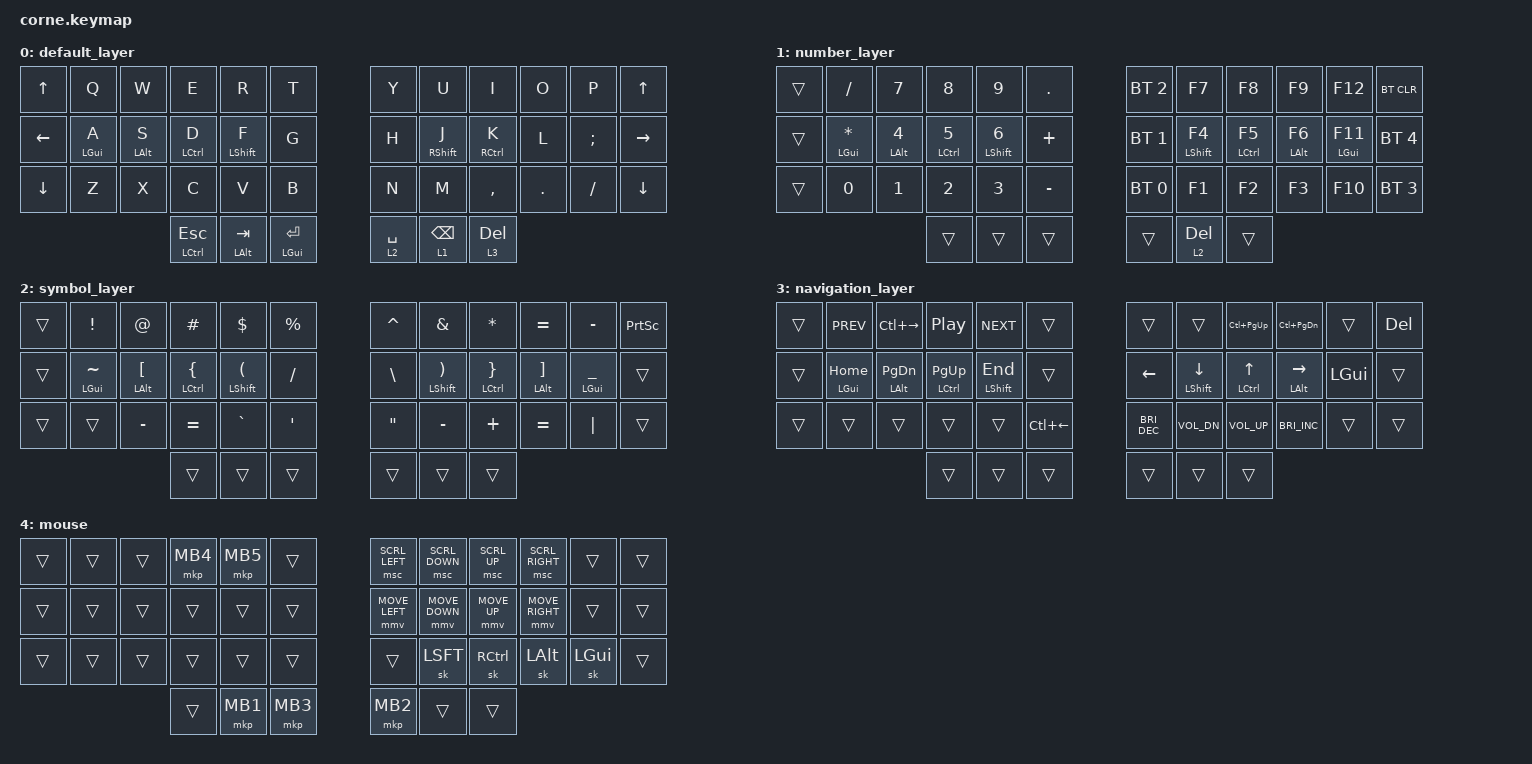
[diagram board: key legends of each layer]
/*
 * Copyright (c) 2020 The ZMK Contributors
 *
 * SPDX-License-Identifier: MIT
 *
 * ==================================================================
 * CORNE KEYBOARD CONFIGURATION FILE
 * ==================================================================
 * This file contains all keymap definitions, behaviors, and custom
 * configurations for the Corne split keyboard.
 * 
 * Keymap structure:
 * - Behaviors section: Defines all key behaviors (hold-tap, home row mods, etc.)
 * - Combos section: Defines key combinations that trigger specific actions
 * - Keymap section: Defines all layers and their key bindings
 * ==================================================================
 */
/* 
 * INCLUDE NECESSARY HEADER FILES
 * These provide definitions for various key codes and behaviors
 */

#include <dt-bindings/zmk/mouse.h>       // Mouse button definitions
#include <behaviors.dtsi>
#include <dt-bindings/zmk/bt.h>
#include <dt-bindings/zmk/keys.h>
#include <dt-bindings/zmk/pointing.h>

/* 
 * LAYER DEFINITIONS
 * These define the layer indices for easier reference throughout the keymap
 */

#define NAV_LAYER 1      // Navigation controls, arrows, media, etc.
#define SYM_LAYER 2      // Symbols, special characters
#define SYSTEM_LAYER 3   // System functions, bluetooth, etc.
#define MOUSE_LAYER 4    // Mouse movement and control

/ {
    /* 
     * BEHAVIOR DEFINITIONS
     * These define how special key behaviors function
     */

    behaviors {
        /* 
         * HOLD-TAP BEHAVIOR
         * Used for thumb keys to perform different actions when held vs tapped
         * - When tapping the key: Sends the tap binding (e.g., Enter)
         * - When holding the key: Activates the hold binding (e.g., GUI modifier)
         */

        ht: holdtap {
            compatible = "zmk,behavior-hold-tap";
            label = "THUMB_HOLD_TAPS";
            #binding-cells = <2>;
            tapping-term-ms = <300>;
            flavor = "balanced";
            global-quick-tap;
            quick-tap-ms = <0>;
            bindings = <&kp>, <&kp>;
        };

        /* 
         * HOME ROW MODS - LEFT HAND
         * Allows home row keys to act as modifiers when held
         * - When tapped normally: Types the character (e.g., 'a', 's', etc.)
         * - When held: Acts as a modifier (CTRL, ALT, GUI, SHIFT)
         * - Tuned for the left hand with specific trigger positions
         */

        hml: homerow_mods_left {
            compatible = "zmk,behavior-hold-tap";
            label = "HOMEROW_MODS_LEFT";
            #binding-cells = <2>;
            tapping-term-ms = <200>;
            quick-tap-ms = <175>;
            global-quick-tap;
            flavor = "tap-preferred";
            bindings = <&kp>, <&kp>;

            hold-trigger-on-release;
            hold-trigger-key-positions = <0 1 2 3 4 5 12 13 14 15 16 17 24 25 26 27 28 29 36 37 38 39 41 40>;
            require-prior-idle-ms = <75>;
        };

        /* 
         * HOME ROW MODS - RIGHT HAND
         * Same concept as left home row mods but tuned for right hand
         * - When tapped normally: Types the character (e.g., 'j', 'k', etc.)
         * - When held: Acts as a modifier (SHIFT, CTRL, ALT, GUI)
         * - Tuned for the right hand with specific trigger positions
         */

        hmr: homerow_mods_right {
            compatible = "zmk,behavior-hold-tap";
            label = "HOMEROW_MODS_RIGHT";
            #binding-cells = <2>;
            tapping-term-ms = <200>;
            quick-tap-ms = <175>;
            global-quick-tap;
            flavor = "tap-preferred";
            bindings = <&kp>, <&kp>;

            hold-trigger-on-release;
            require-prior-idle-ms = <75>;
            hold-trigger-key-positions = <6 7 8 9 10 11 18 19 20 21 22 23 30 31 32 33 34 35 39 40 41 36 37 38>;
        };

        /* 
         * SMART SHIFT BEHAVIOR
         * Enhances the shift key with multiple functions:
         * - When tapped: Acts as sticky shift (stays active for next keypress)
         * - When shift+tapped or double-tapped: Activates caps-word (stays in caps until space/non-alpha)
         * - When held: Regular shift behavior
         */

        smart_shft: smart_shft {
            compatible = "zmk,behavior-mod-morph";
            label = "SMART_SHIFT";
            #binding-cells = <0>;
            bindings = <&sk LSHFT>, <&caps_word>;

            mods = <(MOD_LSFT|MOD_RSFT)>;
        };

        /* 
         * GLOBAL QUICK TAP BEHAVIOR
         * Improves responsiveness when typing quickly
         * - Makes tap behavior more likely after a recent tap
         * - Helps prevent accidental activations of hold behavior during fast typing
         */

        gqt: global-quick-tap {
            compatible = "zmk,behavior-hold-tap";
            label = "GLOBAL_QUICK_TAP";
            #binding-cells = <2>;
            flavor = "tap-preferred";
            tapping-term-ms = <200>;
            quick-tap-ms = <125>;
            global-quick-tap;
            bindings = <&kp>, <&kp>;
        };

        /* 
         * ALT + CAPS LOCK COMBO BEHAVIOR
         * Multipurpose behavior for the Alt key:
         * - When tapped or held: Functions as Left Alt
         * - When double-tapped: Toggles Caps Lock
         */

        alt_caps: alt_caps {
            compatible = "zmk,behavior-tap-dance";
            label = "ALT_CAPS";
            #binding-cells = <0>;
            tapping-term-ms = <50>;
            bindings = <&kp LALT>, <&kp CAPS>;
        };
    };

    /* 
     * KEY COMBOS
     * Define combinations of keys that trigger special actions
     */

    combos {
        compatible = "zmk,combos";

        /* 
         * MOUSE LAYER TOGGLE
         * Press LEFT_TAB and BACKSPACE simultaneously to toggle the mouse layer
         * This allows easy access to mouse controls without dedicated keys
         */

        toggle_mouse_layer {
            bindings = <&tog 4>;
            key-positions = <37 40>; // LEFT_TAB and BACKSPACE keys
            layers = <0>; // Only active on default layer
        };
    };

    keymap {
        compatible = "zmk,keymap";

        /*
         * DEFAULT LAYER
         * 
         * ,-------------------------------------------.                              ,-------------------------------------------.
         * | UP    |  Q  |  W  |  E  |  R  |  T  |                                |  Y  |  U   |  I  |  O  |  P  | UP   |
         * |-------+-----+-----+-----+-----+-----|                                |-----+------+-----+-----+-----+------|
         * | LEFT  |  A  |  S  |  D  |  F  |  G  |                                |  H  |  J   |  K  |  L  |  ;  | RIGHT|
         * |-------+-----+-----+-----+-----+-----|                                |-----+------+-----+-----+-----+------|
         * | DOWN  |  Z  |  X  |  C  |  V  |  B  |                                |  N  |  M   |  ,  |  .  |  /  | DOWN |
         * `----------------------+-----+-----+-----|                          |-----+------+----------------------'
         *                        | ESC | TAB | ENT |                          | SPC | BKSP | DEL |
         *                        `-----+-----+-----'                          `-----+------+-----'
         */

        default_layer {
            bindings = <
&kp UP    &kp Q        &kp W            &kp E          &kp R              &kp T                 &kp Y        &kp U               &kp I         &kp O    &kp P     &kp UP
&kp LEFT  &hml LGUI A  &hml LEFT_ALT S  &hml LCTRL D   &hml LEFT_SHIFT F  &kp G                 &kp H        &hmr RIGHT_SHIFT J  &hmr RCTRL K  &kp L    &kp SEMI  &kp RIGHT
&kp DOWN  &kp Z        &kp X            &kp C          &kp V              &kp B                 &kp N        &kp M               &kp COMMA     &kp DOT  &kp FSLH  &kp DOWN
                                        &ht LCTRL ESC  &ht LEFT_ALT TAB   &ht LEFT_GUI ENTER    &lt 2 SPACE  &lt 1 BACKSPACE     &lt 3 DEL
            >;
        };

        /*
         * NUMBER LAYER
         *
         * ,-------------------------------------------.                              ,-------------------------------------------.
         * |      |  /  |  7  |  8  |  9  |  .  |                                | BT2 |  F7  |  F8 |  F9 | F12 |BT CLR|
         * |-------+-----+-----+-----+-----+-----|                                |-----+------+-----+-----+-----+------|
         * |      |  *  |  4  |  5  |  6  |  +  |                                | BT1 |  F4  |  F5 |  F6 | F11 | BT4  |
         * |-------+-----+-----+-----+-----+-----|                                |-----+------+-----+-----+-----+------|
         * |      |  0  |  1  |  2  |  3  |  -  |                                | BT0 |  F1  |  F2 |  F3 | F10 | BT3  |
         * `----------------------+-----+-----+-----|                          |-----+------+----------------------'
         *                        |     |     |     |                          |     |  DEL |     |
         *                        `-----+-----+-----'                          `-----+------+-----'
         */

        number_layer {
            bindings = <
&trans  &kp FSLH        &kp N7        &kp N8         &kp N9         &kp DOT      &bt BT_SEL 2  &kp F7         &kp F8         &kp F9        &kp F12        &bt BT_CLR
&trans  &hml LGUI STAR  &hml LALT N4  &hml LCTRL N5  &hml LSHFT N6  &kp PLUS     &bt BT_SEL 1  &hmr LSHFT F4  &hmr LCTRL F5  &hmr LALT F6  &hmr LGUI F11  &bt BT_SEL 4
&trans  &kp N0          &kp N1        &kp N2         &kp N3         &kp MINUS    &bt BT_SEL 0  &kp F1         &kp F2         &kp F3        &kp F10        &bt BT_SEL 3
                                      &trans         &trans         &trans       &trans        &lt 2 DEL      &trans
            >;
        };

        /*
         * SYMBOL LAYER
         *
         * ,-------------------------------------------.                              ,-------------------------------------------.
         * |      |  !  |  @  |  #  |  $  |  %  |                                |  ^  |  &   |  *  |  =  |  -  | PRSCR|
         * |-------+-----+-----+-----+-----+-----|                                |-----+------+-----+-----+-----+------|
         * |      |  ~  |  [  |  {  |  (  |  /  |                                |  \  |  )   |  }  |  ]  |  _  |      |
         * |-------+-----+-----+-----+-----+-----|                                |-----+------+-----+-----+-----+------|
         * |      |     |  -  |  =  |  `  |  '  |                                |  "  |  -   |  +  |  =  |  |  |      |
         * `----------------------+-----+-----+-----|                          |-----+------+----------------------'
         *                        |     |     |     |                          |     |      |     |
         *                        `-----+-----+-----'                          `-----+------+-----'
         */

        symbol_layer {
            bindings = <
&trans  &kp EXCL         &kp AT          &kp HASH         &kp DOLLAR       &kp PRCNT    &kp CARET  &kp AMPS         &kp STAR         &kp EQUAL       &kp MINUS        &kp PRINTSCREEN
&trans  &hml LGUI TILDE  &hml LALT LBKT  &hml LCTRL LBRC  &hml LSHFT LPAR  &kp FSLH     &kp BSLH   &hmr LSHFT RPAR  &hmr LCTRL RBRC  &hmr LALT RBKT  &hmr LGUI UNDER  &trans
&trans  &trans           &kp MINUS       &kp EQUAL        &kp GRAVE        &kp SQT      &kp DQT    &kp MINUS        &kp PLUS         &kp EQUAL       &kp PIPE         &trans
                                         &trans           &trans           &trans       &trans     &trans           &trans
            >;
        };

        /*
         * NAVIGATION LAYER
         *
         * ,-------------------------------------------.                              ,-------------------------------------------.
         * |      | PREV|L→TAB| P/P |NEXT |     |                                |     |      | PGU | PGD |     | DEL  |
         * |-------+-----+-----+-----+-----+-----|                                |-----+------+-----+-----+-----+------|
         * |      |HOME |PGDN |PGUP |END  |     |                                | ←   |  ↓   |  ↑  |  →  | GUI |      |
         * |-------+-----+-----+-----+-----+-----|                                |-----+------+-----+-----+-----+------|
         * |      |     |     |     |     |L←TAB|                                |BRI- |VOL-  |VOL+ |BRI+ |     |      |
         * `----------------------+-----+-----+-----|                          |-----+------+----------------------'
         *                        |     |     |     |                          |     |      |     |
         *                        `-----+-----+-----'                          `-----+------+-----'
         */

        navigation_layer {
            bindings = <
&trans  &kp C_PREV      &kp LC(RIGHT)    &kp C_PP          &kp C_NEXT      &trans          &trans         &trans           &kp LC(PG_UP)  &kp LC(PG_DN)    &trans    &kp DEL
&trans  &hml LGUI HOME  &hml LALT PG_DN  &hml LCTRL PG_UP  &hml LSHFT END  &trans          &kp LEFT       &hmr LSHFT DOWN  &hmr LCTRL UP  &hmr LALT RIGHT  &kp LGUI  &trans
&trans  &trans          &trans           &trans            &trans          &kp LC(LEFT)    &kp C_BRI_DEC  &kp C_VOL_DN     &kp C_VOL_UP   &kp C_BRI_INC    &trans    &trans
                                         &trans            &trans          &trans          &trans         &trans           &trans
            >;
        };

        /*
         * MOUSE LAYER
         *
         * ,-------------------------------------------.                              ,-------------------------------------------.
         * |      |     |     | MB4 | MB5 |     |                                |WHL← |WHL↓  |WHL↑ |WHL→ |     |      |
         * |-------+-----+-----+-----+-----+-----|                                |-----+------+-----+-----+-----+------|
         * |      |     |     |     |     |     |                                |MS ← |MS ↓  |MS ↑ |MS → |     |      |
         * |-------+-----+-----+-----+-----+-----|                                |-----+------+-----+-----+-----+------|
         * |      |     |     |     |     |     |                                |     |LSHFT |RCTRL|LALT |LGUI |      |
         * `----------------------+-----+-----+-----|                          |-----+------+----------------------'
         *                        |     | MB1 | MB3 |                          | MB2 |      |     |
         *                        `-----+-----+-----'                          `-----+------+-----'
         */

        mouse {
            bindings = <
&trans  &trans  &trans  &mkp MB4  &mkp MB5  &trans      &msc SCRL_LEFT  &msc SCRL_DOWN  &msc SCRL_UP  &msc SCRL_RIGHT  &trans    &trans
&trans  &trans  &trans  &trans    &trans    &trans      &mmv MOVE_LEFT  &mmv MOVE_DOWN  &mmv MOVE_UP  &mmv MOVE_RIGHT  &trans    &trans
&trans  &trans  &trans  &trans    &trans    &trans      &trans          &sk LSFT        &sk RCTL      &sk LALT         &sk LGUI  &trans
                        &trans    &mkp MB1  &mkp MB3    &mkp MB2        &trans          &trans
            >;
        };
    };
};
